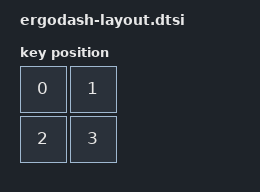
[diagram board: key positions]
#include <physical_layouts.dtsi>

/ {
    ergodash_physical_layout: macropad_physical_layout {
        compatible = "zmk,physical-layout";
        display-name = "Ergodash Default Layout";
        transform = <&default_transform>;
        kscan = <&kscan0>;
        keys  //                     w   h    x    y     rot    rx    ry
            = <&key_physical_attrs 100 100    0    0       0     0     0>
            , <&key_physical_attrs 100 100  100    0       0     0     0>
            , <&key_physical_attrs 100 100    0  100       0     0     0>
            , <&key_physical_attrs 100 100  100  100       0     0     0>
            ;
    };


    keypad_position_map {
        // Other properties

        ergodash_map: map {
            physical-layout = <&ergodash_physical_layout>;
            positions // This is equivalent to `positions = <0 1 2 3>;`, reshaped for readability
                = < 0  1 >
                , < 2  3 >;
        };
    };

    chosen {
        zmk,kscan = &kscan0;
        zmk,physical-layout = &ergodash_physical_layout;
        // Other chosen items
    };

};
